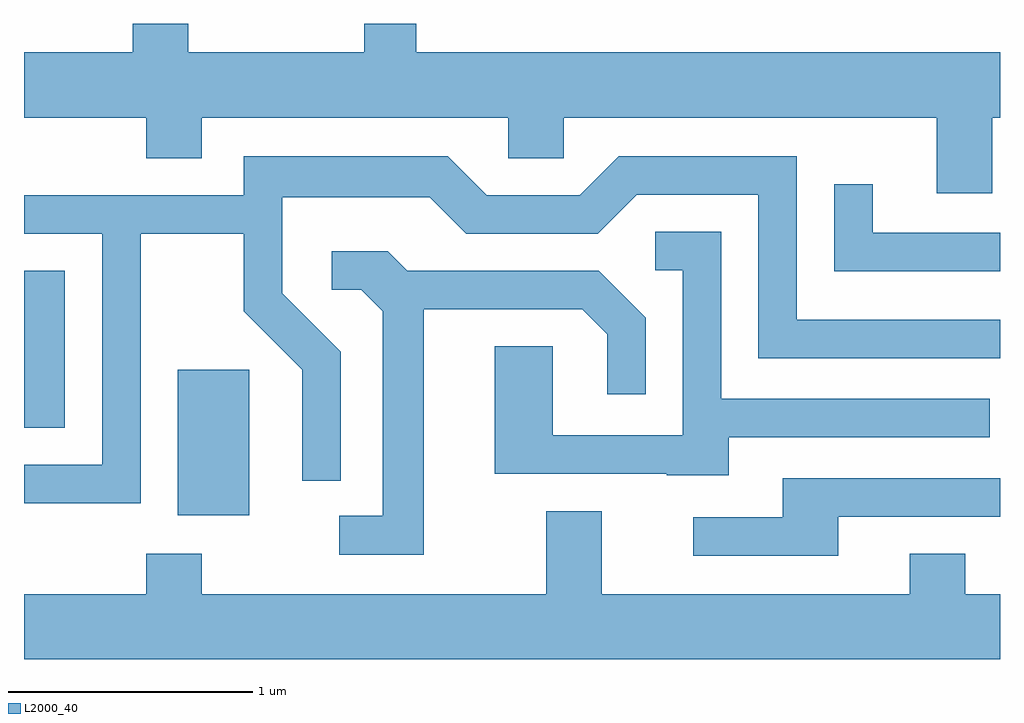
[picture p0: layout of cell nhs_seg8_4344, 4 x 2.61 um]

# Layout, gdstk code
import gdstk
lib = gdstk.Library(unit=1e-6, precision=1e-09)
def R(c, l, rs):  # rectangles x0, y0, x1, y1
    for r in rs: c.add(gdstk.rectangle(r[:2], r[2:], *l))
def P(c, l, *ps):  # polygons
    for p in ps: c.add(gdstk.Polygon(p, *l))
L2000_40 = (2000, 40)

nhs_seg8_4344 = lib.new_cell('nhs_seg8_4344')
R(nhs_seg8_4344, L2000_40, [(316.241,1850.326,316.534,1850.924), (315.611,1850.686,315.779,1851.329)])
P(nhs_seg8_4344, L2000_40, [(319.579,1851.956),(319.611,1851.956),(319.611,1852.224),(317.219,1852.224),(317.219,1852.342),(317.006,1852.342),(317.006,1852.224),(316.284,1852.224),(316.284,1852.342),(316.056,1852.342),(316.056,1852.224),(315.611,1852.224),(315.611,1851.956),(316.111,1851.956),(316.111,1851.791),(316.339,1851.791),(316.339,1851.956),(317.596,1851.956),(317.596,1851.791),(317.824,1851.791),(317.824,1851.956),(319.351,1851.956),(319.351,1851.646),(319.579,1851.646)],
  [(316.089,1851.481),(316.511,1851.481),(316.511,1851.164),(316.751,1850.924),(316.751,1850.468),(316.909,1850.468),(316.909,1850.997),(316.669,1851.237),(316.669,1851.631),(317.274,1851.631),(317.424,1851.481),(317.962,1851.481),(318.122,1851.641),(318.621,1851.641),(318.621,1850.971),(319.611,1850.971),(319.611,1851.129),(318.779,1851.129),(318.779,1851.799),(318.049,1851.799),(317.889,1851.639),(317.507,1851.639),(317.347,1851.799),(316.511,1851.799),(316.511,1851.639),(315.611,1851.639),(315.611,1851.481),(315.931,1851.481),(315.931,1850.534),(315.611,1850.534),(315.611,1850.376),(316.089,1850.376)],
  [(319.611,1851.484),(319.089,1851.484),(319.089,1851.683),(318.931,1851.683),(318.931,1851.326),(319.611,1851.326)],
  [(318.499,1850.646),(319.568,1850.646),(319.568,1850.804),(318.469,1850.804),(318.469,1851.489),(318.198,1851.489),(318.198,1851.331),(318.311,1851.331),(318.311,1850.654),(317.779,1850.654),(317.779,1851.019),(317.541,1851.019),(317.541,1850.496),(318.245,1850.496),(318.245,1850.491),(318.499,1850.491)],
  [(317.249,1851.171),(317.899,1851.171),(318.001,1851.069),(318.001,1850.823),(318.159,1850.823),(318.159,1851.137),(317.967,1851.329),(317.182,1851.329),(317.102,1851.409),(316.873,1851.409),(316.873,1851.251),(316.994,1851.251),(317.081,1851.164),(317.081,1850.324),(316.903,1850.324),(316.903,1850.166),(317.249,1850.166)],
  [(318.949,1850.321),(319.611,1850.321),(319.611,1850.479),(318.721,1850.479),(318.721,1850.319),(318.353,1850.319),(318.353,1850.161),(318.949,1850.161)],
  [(319.611,1850.004),(319.469,1850.004),(319.469,1850.169),(319.241,1850.169),(319.241,1850.004),(317.979,1850.004),(317.979,1850.344),(317.751,1850.344),(317.751,1850.004),(316.339,1850.004),(316.339,1850.169),(316.111,1850.169),(316.111,1850.004),(315.611,1850.004),(315.611,1849.736),(319.611,1849.736)])

lib.write_gds('nhs_seg8_4344.gds')
